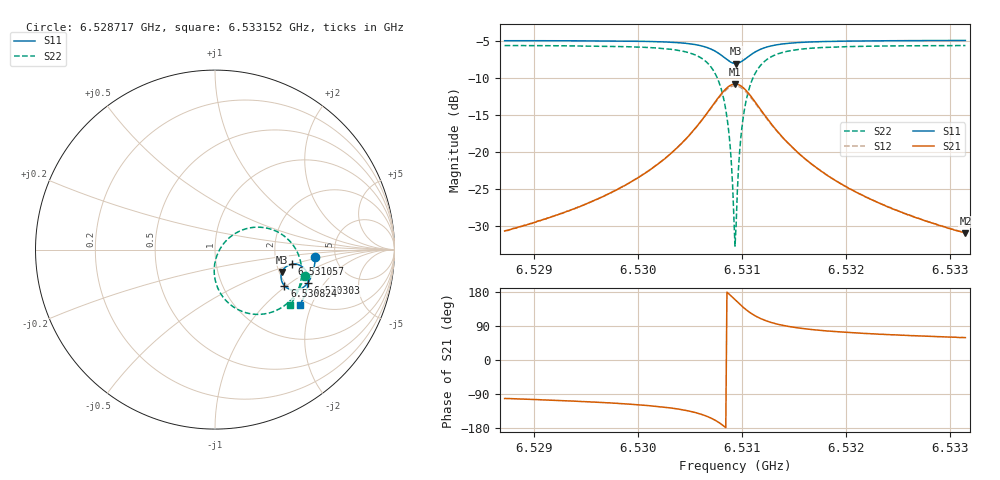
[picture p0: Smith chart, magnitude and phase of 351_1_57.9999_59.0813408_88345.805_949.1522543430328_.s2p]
#  HZ  S  RI  R  50.00
! Rohde & Schwarz Vector Network Analyzer
! Rohde-Schwarz,ZNB20-2Port,1311601062101988,3.16
! Created: UTC 3/21/2024, 1:06:00 AM
! freq[Hz]  re:S11  im:S11  re:S21  im:S21  re:S12  im:S12  re:S22  im:S22
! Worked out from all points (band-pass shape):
!   401 points, 6.528717 GHz to 6.533152 GHz, reference 50 ohm
!   highest |S21| = -10.86 dB at 6.530935 GHz (marker M1); lowest = -31.0 dB at 6.533152 GHz (marker M2)
!   |S21| within 3 dB of the highest: 6.530714 GHz to 6.531158 GHz (443.7 kHz wide, 0.00679 % of centre)
!   lowest |S11| = -8.1 dB at 6.530946 GHz (marker M3), VSWR 2.30, Z = 103 - j30.7 ohm
!   |S11| at or under -10 dB: nowhere
!   |S22| runs from -32.7 to -5.7 dB; largest |S21 - S12| = 0.011
!   S11 on the Smith chart (normalised r, x): 6.528717 GHz: 3.50, -0.43; 6.530303 GHz: 2.61, -1.39; 6.530824 GHz: 1.94, -0.97; 6.531057 GHz: 2.43, -0.49; 6.533152 GHz: 1.82, -1.65
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6.5287171e9  0.5599 -0.042  -0.0059 -0.0286  -0.00646 -0.0285  0.5 -0.1453
6.52946e9  0.551 -0.103  -0.0145 -0.0407  -0.0153 -0.0405  0.472 -0.2126
6.5302029e9  0.5245 -0.1742  -0.0456 -0.07  -0.0475 -0.0689  0.396 -0.3054
6.5303027e9  0.5168 -0.1858  -0.0562 -0.0769  -0.0584 -0.0753  0.3732 -0.3217
6.5305023e9  0.492 -0.2103  -0.0931 -0.0921  -0.0959 -0.089  0.2994 -0.3534
6.5306575e9  0.4544 -0.2254  -0.1515 -0.0951  -0.1537 -0.0894  0.1919 -0.3564
6.5307573e9  0.4158 -0.2213  -0.2113 -0.0722  -0.2111 -0.0637  0.0894 -0.3098
6.5308238e9  0.387 -0.2019  -0.254 -0.0284  -0.2502 -0.0194  0.0226 -0.2298
6.5308571e9  0.3756 -0.185  -0.2698 0.00481  -0.2637 0.0135  0.00145 -0.1712
6.5308793e9  0.3704 -0.1713  -0.2759 0.031  -0.2682 0.0385  -0.00435 -0.1272
6.5309236e9  0.3691 -0.1407  -0.2723 0.0876  -0.2629 0.0921  0.0102 -0.0343
6.5309347e9  0.3709 -0.1327  -0.268 0.1015  -0.2583 0.1052  0.0196 -0.0121
6.5309458e9  0.3733 -0.1253  -0.2621 0.115  -0.2525 0.1178  0.0311 0.00909
6.5309569e9  0.3769 -0.1181  -0.2552 0.1277  -0.2455 0.1297  0.0448 0.0291
6.5309791e9  0.3856 -0.1053  -0.2378 0.1506  -0.2286 0.1509  0.0769 0.0638
6.5310013e9  0.3967 -0.095  -0.2171 0.1689  -0.2087 0.168  0.1139 0.0907
6.5310567e9  0.4278 -0.0814  -0.1605 0.1944  -0.1548 0.1917  0.2119 0.1237
6.5311343e9  0.4662 -0.0846  -0.0928 0.1927  -0.0899 0.1901  0.3256 0.1088
6.5312452e9  0.4986 -0.1071  -0.0359 0.1632  -0.0344 0.1619  0.4184 0.0455
6.5316777e9  0.52 -0.1825  0.0139 0.0807  0.0148 0.0806  0.483 -0.1303
6.5324206e9  0.4997 -0.2554  0.0164 0.0386  0.0173 0.0385  0.4553 -0.2457
6.5331524e9  0.4714 -0.3089  0.0145 0.0242  0.015 0.024  0.4199 -0.3078
